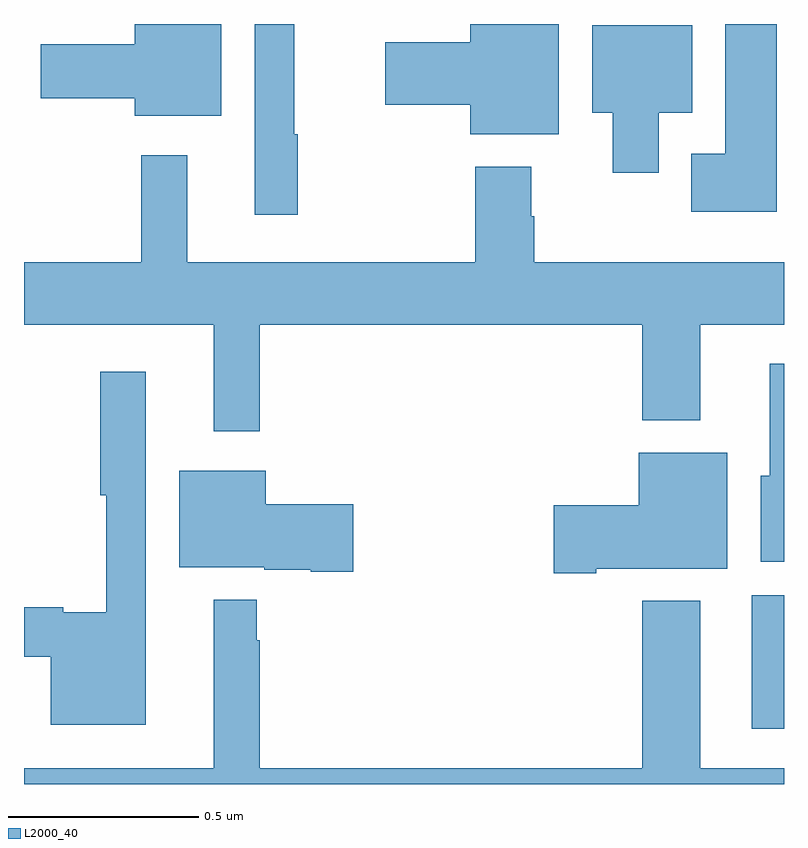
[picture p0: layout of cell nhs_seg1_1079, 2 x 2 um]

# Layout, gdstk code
import gdstk
lib = gdstk.Library(unit=1e-6, precision=1e-09)
def R(c, l, rs):  # rectangles x0, y0, x1, y1
    for r in rs: c.add(gdstk.rectangle(r[:2], r[2:], *l))
def P(c, l, *ps):  # polygons
    for p in ps: c.add(gdstk.Polygon(p, *l))
L2000_40 = (2000, 40)

nhs_seg1_1079 = lib.new_cell('nhs_seg1_1079')
R(nhs_seg1_1079, L2000_40, [(125.915,541.344,126,541.696)])
P(nhs_seg1_1079, L2000_40, [(124.721,542.909),(124.711,542.909),(124.711,543.199),(124.607,543.199),(124.607,542.697),(124.721,542.697)],
  [(124.519,543.199),(124.292,543.199),(124.292,543.146),(124.044,543.146),(124.044,543.004),(124.292,543.004),(124.292,542.957),(124.519,542.957)],
  [(125.407,543.199),(125.174,543.199),(125.174,543.151),(124.95,543.151),(124.95,542.986),(125.174,542.986),(125.174,542.909),(125.407,542.909)],
  [(125.981,543.199),(125.846,543.199),(125.846,542.857),(125.756,542.857),(125.756,542.705),(125.981,542.705)],
  [(125.671,542.966),(125.758,542.966),(125.758,543.196),(125.495,543.196),(125.495,542.966),(125.549,542.966),(125.549,542.808),(125.671,542.808)],
  [(124.621,542.408),(125.627,542.408),(125.627,542.156),(125.779,542.156),(125.779,542.408),(126,542.408),(126,542.572),(125.343,542.572),(125.343,542.693),(125.335,542.693),(125.335,542.824),(125.188,542.824),(125.188,542.572),(124.429,542.572),(124.429,542.854),(124.308,542.854),(124.308,542.572),(124,542.572),(124,542.408),(124.499,542.408),(124.499,542.127),(124.621,542.127)],
  [(126,542.305),(125.963,542.305),(125.963,542.01),(125.939,542.01),(125.939,541.784),(126,541.784)],
  [(124.321,542.284),(124.2,542.284),(124.2,541.959),(124.217,541.959),(124.217,541.651),(124.103,541.651),(124.103,541.664),(124,541.664),(124,541.534),(124.07,541.534),(124.07,541.355),(124.321,541.355)],
  [(125.506,541.766),(125.851,541.766),(125.851,542.071),(125.618,542.071),(125.618,541.932),(125.394,541.932),(125.394,541.754),(125.506,541.754)],
  [(124.867,541.935),(124.636,541.935),(124.636,542.023),(124.409,542.023),(124.409,541.769),(124.632,541.769),(124.632,541.763),(124.754,541.763),(124.754,541.757),(124.867,541.757)],
  [(126,541.24),(125.779,541.24),(125.779,541.681),(125.627,541.681),(125.627,541.24),(124.621,541.24),(124.621,541.577),(124.613,541.577),(124.613,541.684),(124.499,541.684),(124.499,541.24),(124,541.24),(124,541.199),(126,541.199)])

lib.write_gds('nhs_seg1_1079.gds')
